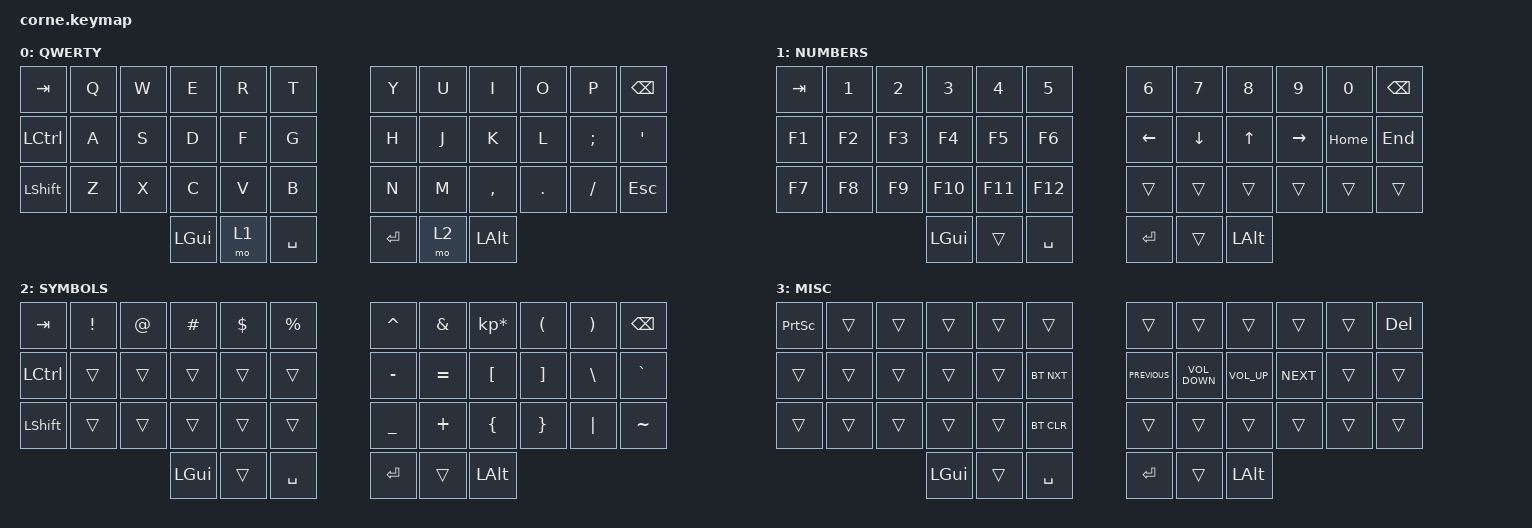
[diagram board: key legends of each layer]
#include <behaviors.dtsi>
#include <dt-bindings/zmk/bt.h>
#include <dt-bindings/zmk/keys.h>

/ {
    combos {
        compatible = "zmk,combos";

        layer_3 {
            bindings = <&mo 3>;
            key-positions = <37 40>;
        };
    };

    keymap {
        compatible = "zmk,keymap";

        QWERTY {
            // -----------------------------------------------------------------------------------------
            // |  TAB |  Q  |  W  |  E  |  R  |  T  |   |  Y  |  U   |  I  |  O  |  P  | BKSP |
            // | CTRL |  A  |  S  |  D  |  F  |  G  |   |  H  |  J   |  K  |  L  |  ;  |  '   |
            // | SHFT |  Z  |  X  |  C  |  V  |  B  |   |  N  |  M   |  ,  |  .  |  /  | ESC  |
            //                    | GUI | LWR | SPC |   | ENT | RSE  | ALT |

            display-name = "QWERTY";
            bindings = <
&kp TAB    &kp Q  &kp W  &kp E     &kp R  &kp T        &kp Y    &kp U  &kp I         &kp O    &kp P     &kp BSPC
&kp LCTRL  &kp A  &kp S  &kp D     &kp F  &kp G        &kp H    &kp J  &kp K         &kp L    &kp SEMI  &kp SQT
&kp LSHFT  &kp Z  &kp X  &kp C     &kp V  &kp B        &kp N    &kp M  &kp COMMA     &kp DOT  &kp FSLH  &kp ESC
                         &kp LGUI  &mo 1  &kp SPACE    &kp RET  &mo 2  &kp LEFT_ALT
            >;
        };

        NUMBERS {
            // -----------------------------------------------------------------------------------------
            // |  TAB |  1  |  2  |  3  |  4  |  5  |   |  6  |  7  |  8  |  9  |  0  | BKSP |
            // | BTCLR| BT1 | BT2 | BT3 | BT4 | BT5 |   | LFT | DWN |  UP | RGT |     |      |
            // | SHFT |     |     |     |     |     |   |     |     |     |     |     |      |
            //                    | GUI |     | SPC |   | ENT |     | ALT |

            display-name = "NUMBERS";
            bindings = <
&kp TAB  &kp N1  &kp N2  &kp N3    &kp N4   &kp N5       &kp N6    &kp N7    &kp N8        &kp N9     &kp N0    &kp BACKSPACE
&kp F1   &kp F2  &kp F3  &kp F4    &kp F5   &kp F6       &kp LEFT  &kp DOWN  &kp UP        &kp RIGHT  &kp HOME  &kp END
&kp F7   &kp F8  &kp F9  &kp F10   &kp F11  &kp F12      &trans    &trans    &trans        &trans     &trans    &trans
                         &kp LGUI  &trans   &kp SPACE    &kp RET   &trans    &kp LEFT_ALT
            >;
        };

        SYMBOLS {
            // -----------------------------------------------------------------------------------------
            // |  TAB |  !  |  @  |  #  |  $  |  %  |   |  ^  |  &  |  *  |  (  |  )  | BKSP |
            // | CTRL |     |     |     |     |     |   |  -  |  =  |  [  |  ]  |  \  |  `   |
            // | SHFT |     |     |     |     |     |   |  _  |  +  |  {  |  }  | "|" |  ~   |
            //                    | GUI |     | SPC |   | ENT |     | ALT |

            display-name = "SYMBOLS";
            bindings = <
&kp TAB    &kp EXCL  &kp AT  &kp HASH  &kp DLLR  &kp PRCNT    &kp CARET  &kp AMPS   &kp KP_MULTIPLY  &kp LPAR  &kp RPAR  &kp BACKSPACE
&kp LCTRL  &trans    &trans  &trans    &trans    &trans       &kp MINUS  &kp EQUAL  &kp LBKT         &kp RBKT  &kp BSLH  &kp GRAVE
&kp LSHFT  &trans    &trans  &trans    &trans    &trans       &kp UNDER  &kp PLUS   &kp LBRC         &kp RBRC  &kp PIPE  &kp TILDE
                             &kp LGUI  &trans    &kp SPACE    &kp RET    &trans     &kp LEFT_ALT
            >;
        };

        MISC {
            bindings = <
&kp PRINTSCREEN  &trans  &trans  &trans        &trans  &trans        &trans          &trans             &trans        &trans      &trans  &kp DEL
&trans           &trans  &trans  &trans        &trans  &bt BT_NXT    &kp C_PREVIOUS  &kp C_VOLUME_DOWN  &kp C_VOL_UP  &kp C_NEXT  &trans  &trans
&trans           &trans  &trans  &trans        &trans  &bt BT_CLR    &trans          &trans             &trans        &trans      &trans  &trans
                                 &kp LEFT_GUI  &trans  &kp SPACE     &kp ENTER       &trans             &kp LEFT_ALT
            >;
        };
    };
};
